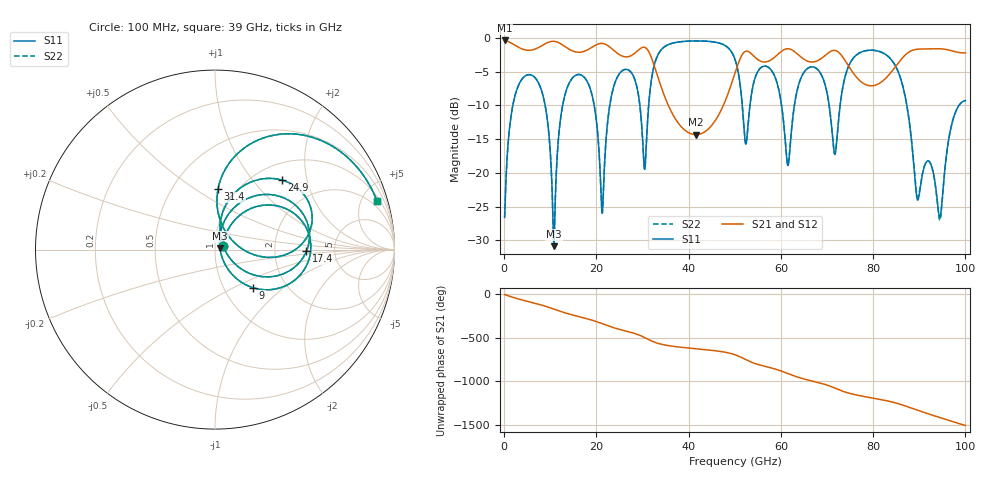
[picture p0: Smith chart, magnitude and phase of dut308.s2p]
! Touchstone file exported from HFSS 2026.1.0
!  File:  C:/ffzhzh/LocalFiles/Ansys_Project_Files/temp_train_TSV_RDL_308_1783698173_45164.aedt
!  Generated:  12:19:13 AM Jul 11, 2026
!  Design:  TSV_RDL
!  Project:  temp_train_TSV_RDL_308_1783698173_45164
! Variables:
!  h_bsmrdl = 2.17um
!  h_ox = 20um
!  h_rdl = 5um
!  h_sub = 68.23um
!  h_tmrdl = 2.52um
!  h_tsv = 68.23um
!  h_via = 3um
!  l_bsmrdl = 673.33um
!  l_sub = 5218.31um
!  l_tmrdl = 668.05um
!  m_sub = 200um
!  pitch = 43.54um
!  r_tsv = 5.49um
!  s_tmrdl = 10um
!  w_bsmrdl = 29.84um
!  w_sub = 500um
!  w_tmrdl = 12.2um
!  x_tsv_center1 = 674.15um
!  x_tsv_center2 = 1377.32um
!  x_tsv_center3 = 2057.57um
!  x_tsv_center4 = 2760.74um
!  x_tsv_center5 = 3440.99um
!  x_tsv_center6 = 4144.16um
# GHz S MA R 50.000000
! Terminal data exported
! Port[1] = TM_RDL1_1_T1
! Port[2] = TM_RDL5_1_T1
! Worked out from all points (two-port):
!   1000 points, 100 MHz to 100 GHz, reference 50 ohm
!   highest |S21| = -0.38 dB at 100 MHz (marker M1); lowest = -14.3 dB at 41.6 GHz (marker M2)
!   |S21| within 3 dB of the highest: start of sweep to 32.17 GHz; 85.83 GHz to end of sweep (the widest 2 of 5)
!   lowest |S11| = -30.8 dB at 10.8 GHz (marker M3), VSWR 1.06, Z = 52.8 + j0.822 ohm
!   |S11| at or under -10 dB: 8.886 GHz to 12.68 GHz (3.79 GHz wide, 35.2 % of centre); 19.52 GHz to 22.89 GHz (3.368 GHz wide, 15.9 % of centre); 87.3 GHz to 98.6 GHz (11.3 GHz wide, 12.2 % of centre) (the widest 3 of 8)
!   |S22| runs from -30.8 to -0.4 dB; largest |S21 - S12| = 4.3e-13
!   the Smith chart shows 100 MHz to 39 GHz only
!   S11 on the Smith chart (normalised r, x): 100 MHz: 1.09, +0.04; 9 GHz: 1.37, -0.64; 17.4 GHz: 3.08, -0.07; 24.9 GHz: 1.31, +1.43; 31.4 GHz: 0.82, +0.62; 39 GHz: 1.35, +6.53
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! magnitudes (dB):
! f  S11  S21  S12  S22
! 100 MHz  -26.6  -0.4  -0.4  -26.6
! 3.2 GHz  -6.9  -1.4  -1.4  -6.9
! 9 GHz  -10.4  -0.8  -0.8  -10.4
! 10.8 GHz  -30.8  -0.5  -0.5  -30.8
! 12.9 GHz  -9.2  -1.1  -1.1  -9.2
! 16.8 GHz  -5.5  -2.1  -2.1  -5.5
! 17.4 GHz  -5.9  -2.0  -2.0  -5.9
! 21.2 GHz  -25.9  -0.8  -0.8  -25.9
! 24.9 GHz  -5.4  -2.4  -2.4  -5.4
! 31.4 GHz  -9.4  -2.1  -2.1  -9.4
! 33.4 GHz  -2.4  -5.9  -5.9  -2.4
! 39 GHz  -0.5  -13.6  -13.6  -0.5
! 41.6 GHz  -0.4  -14.3  -14.3  -0.4
! 50.1 GHz  -3.3  -5.1  -5.1  -3.3
! 58.3 GHz  -5.2  -3.0  -3.0  -5.2
! 61.5 GHz  -18.9  -1.6  -1.6  -18.7
! 66.7 GHz  -4.3  -3.6  -3.6  -4.3
! 71.7 GHz  -17.3  -1.9  -1.9  -17.2
! 75.2 GHz  -3.5  -4.7  -4.7  -3.5
! 83.4 GHz  -2.8  -5.5  -5.5  -2.8
! 94.4 GHz  -26.6  -1.6  -1.6  -27.0
! 100 GHz  -9.3  -2.2  -2.2  -9.3
